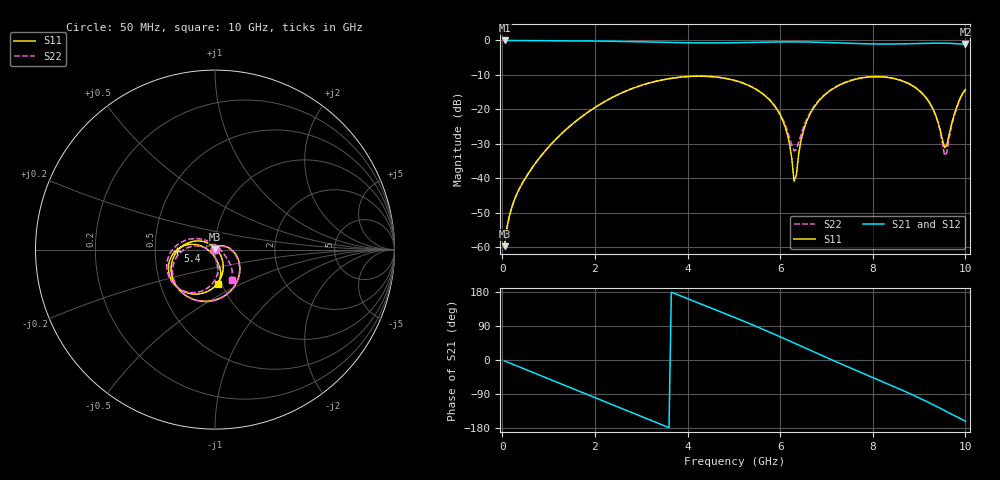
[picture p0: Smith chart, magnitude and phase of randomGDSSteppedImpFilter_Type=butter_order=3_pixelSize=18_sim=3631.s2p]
! freq	dB(S11)	phase(S11)	dB(S12)	phase(S12)
!  dB(S21)	phase(S21)	dB(S22)	phase(S22)
!S-par simulation data
#  GHz  S  DB  R 50
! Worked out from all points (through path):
!   200 points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, 50 MHz to 10 GHz, reference 50 ohm
!   highest |S21| = -0.01 dB at 50 MHz (marker M1); lowest = -1.1 dB at 10 GHz (marker M2)
!   group delay of S21, straight-line fit = 143 ps
!   lowest |S11| = -59.6 dB at 50 MHz (marker M3), VSWR 1.00, Z = 50 + j0.0958 ohm
!   |S11| at or under -10 dB: start of sweep to end of sweep
!   |S22| runs from -59.6 to -10.4 dB; largest |S21 - S12| = 0
!   S11 on the Smith chart (normalised r, x): 50 MHz: 1.00, +0.00; 5.4 GHz: 0.65, -0.01; 10 GHz: 0.96, -0.39
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0.05  -59.64 66.7  -0.01 -2.5  -0.01 -2.5  -59.63 66.5
0.2  -48.58 73.8  -0.02 -10.0  -0.02 -10.0  -48.57 72.9
0.5  -39.88 64.8  -0.03 -24.8  -0.03 -24.8  -39.88 62.5
1.15  -28.73 35.3  -0.07 -56.9  -0.07 -56.9  -28.74 32.5
1.75  -21.76 5.1  -0.13 -86.8  -0.13 -86.8  -21.76 2.9
2.5  -15.69 -32.9  -0.26 -124.3  -0.26 -124.3  -15.69 -34.1
3.4  -11.60 -78.6  -0.53 -168.8  -0.53 -168.8  -11.59 -78.3
4.2  -10.37 -117.8  -0.71 152.3  -0.71 152.3  -10.36 -116.0
5.05  -11.73 -160.0  -0.65 110.7  -0.65 110.7  -11.71 -155.4
5.4  -13.59 -178.1  -0.57 92.9  -0.57 92.9  -13.55 -171.2
6.05  -23.02 142.9  -0.43 58.5  -0.43 58.5  -22.61 167.8
6.2  -29.79 127.3  -0.42 50.4  -0.42 50.4  -28.03 178.7
6.3  -40.77 79.0  -0.42 44.9  -0.42 44.9  -32.01 -145.7
6.5  -26.31 -47.1  -0.44 34.0  -0.44 34.0  -25.28 -83.0
6.7  -20.04 -62.7  -0.49 23.0  -0.49 23.0  -19.72 -80.6
7.45  -11.97 -105.6  -0.82 -17.5  -0.82 -17.5  -11.90 -111.6
8.35  -10.78 -152.3  -1.04 -64.4  -1.04 -64.4  -10.72 -156.6
9.2  -17.55 167.0  -0.82 -111.7  -0.82 -111.7  -17.52 152.6
9.4  -23.31 166.7  -0.79 -123.8  -0.79 -123.8  -23.46 132.1
9.55  -31.07 -148.3  -0.80 -133.2  -0.80 -133.2  -33.37 70.0
9.75  -21.90 -77.0  -0.89 -146.1  -0.89 -146.1  -22.31 -35.1
10  -14.25 -84.7  -1.06 -161.6  -1.06 -161.6  -14.29 -61.3
